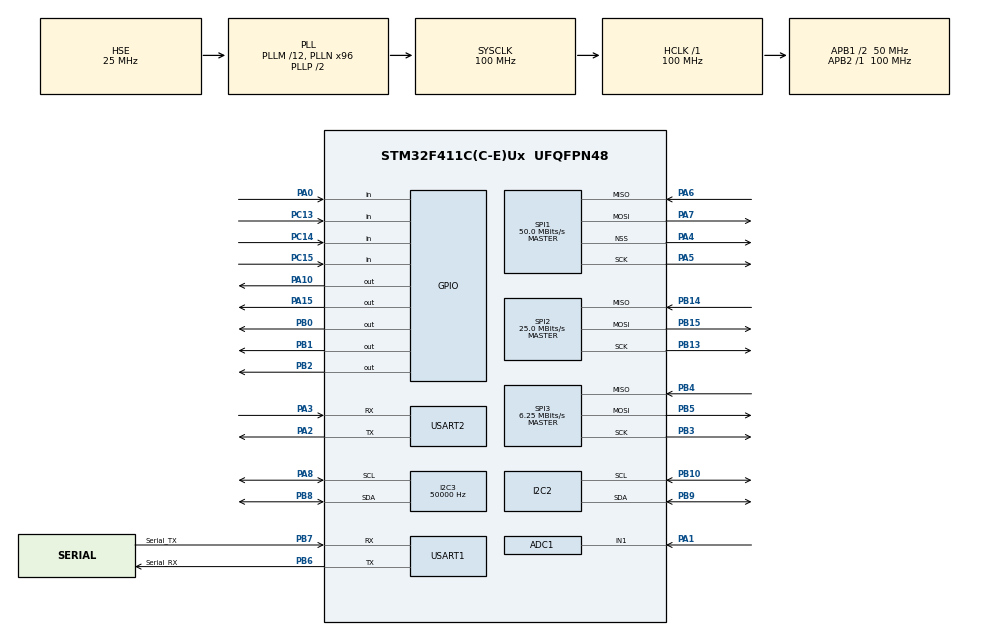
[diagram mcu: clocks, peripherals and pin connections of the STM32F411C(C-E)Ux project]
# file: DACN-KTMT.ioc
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ADC1.Channel-2\#ChannelRegularConversion=ADC_CHANNEL_1
ADC1.ClockPrescaler=ADC_CLOCK_SYNC_PCLK_DIV4
ADC1.NbrOfConversionFlag=1
ADC1.Rank-2\#ChannelRegularConversion=1
ADC1.SamplingTime-2\#ChannelRegularConversion=ADC_SAMPLETIME_3CYCLES
ADC1.master=1
Dma.I2C2_RX.2.Direction=DMA_PERIPH_TO_MEMORY
Dma.I2C2_RX.2.FIFOMode=DMA_FIFOMODE_DISABLE
Dma.I2C2_RX.2.Instance=DMA1_Stream2
Dma.I2C2_RX.2.MemDataAlignment=DMA_MDATAALIGN_BYTE
Dma.I2C2_RX.2.MemInc=DMA_MINC_ENABLE
Dma.I2C2_RX.2.Mode=DMA_NORMAL
Dma.I2C2_RX.2.PeriphDataAlignment=DMA_PDATAALIGN_BYTE
Dma.I2C2_RX.2.PeriphInc=DMA_PINC_DISABLE
Dma.I2C2_RX.2.Priority=DMA_PRIORITY_LOW
Dma.I2C2_TX.3.Direction=DMA_MEMORY_TO_PERIPH
Dma.I2C2_TX.3.FIFOMode=DMA_FIFOMODE_DISABLE
Dma.I2C2_TX.3.Instance=DMA1_Stream7
Dma.I2C2_TX.3.MemDataAlignment=DMA_MDATAALIGN_BYTE
Dma.I2C2_TX.3.MemInc=DMA_MINC_ENABLE
Dma.I2C2_TX.3.Mode=DMA_NORMAL
Dma.I2C2_TX.3.PeriphDataAlignment=DMA_PDATAALIGN_BYTE
Dma.I2C2_TX.3.PeriphInc=DMA_PINC_DISABLE
Dma.I2C2_TX.3.Priority=DMA_PRIORITY_LOW
Dma.Request0=USART2_TX
Dma.Request1=USART2_RX
Dma.Request2=I2C2_RX
Dma.Request3=I2C2_TX
Dma.Request4=SPI1_RX
Dma.Request5=SPI1_TX
Dma.SPI1_RX.4.Direction=DMA_PERIPH_TO_MEMORY
Dma.SPI1_RX.4.FIFOMode=DMA_FIFOMODE_DISABLE
Dma.SPI1_RX.4.Instance=DMA2_Stream0
Dma.SPI1_RX.4.MemDataAlignment=DMA_MDATAALIGN_BYTE
Dma.SPI1_RX.4.MemInc=DMA_MINC_ENABLE
Dma.SPI1_RX.4.Mode=DMA_NORMAL
Dma.SPI1_RX.4.PeriphDataAlignment=DMA_PDATAALIGN_BYTE
Dma.SPI1_RX.4.PeriphInc=DMA_PINC_DISABLE
Dma.SPI1_RX.4.Priority=DMA_PRIORITY_LOW
Dma.SPI1_TX.5.Direction=DMA_MEMORY_TO_PERIPH
Dma.SPI1_TX.5.FIFOMode=DMA_FIFOMODE_DISABLE
Dma.SPI1_TX.5.Instance=DMA2_Stream2
Dma.SPI1_TX.5.MemDataAlignment=DMA_MDATAALIGN_BYTE
Dma.SPI1_TX.5.MemInc=DMA_MINC_ENABLE
Dma.SPI1_TX.5.Mode=DMA_NORMAL
Dma.SPI1_TX.5.PeriphDataAlignment=DMA_PDATAALIGN_BYTE
Dma.SPI1_TX.5.PeriphInc=DMA_PINC_DISABLE
Dma.SPI1_TX.5.Priority=DMA_PRIORITY_LOW
Dma.USART2_RX.1.Direction=DMA_PERIPH_TO_MEMORY
Dma.USART2_RX.1.FIFOMode=DMA_FIFOMODE_DISABLE
Dma.USART2_RX.1.Instance=DMA1_Stream5
Dma.USART2_RX.1.MemDataAlignment=DMA_MDATAALIGN_BYTE
Dma.USART2_RX.1.MemInc=DMA_MINC_ENABLE
Dma.USART2_RX.1.Mode=DMA_NORMAL
Dma.USART2_RX.1.PeriphDataAlignment=DMA_PDATAALIGN_BYTE
Dma.USART2_RX.1.PeriphInc=DMA_PINC_DISABLE
Dma.USART2_RX.1.Priority=DMA_PRIORITY_LOW
Dma.USART2_TX.0.Direction=DMA_MEMORY_TO_PERIPH
Dma.USART2_TX.0.FIFOMode=DMA_FIFOMODE_DISABLE
Dma.USART2_TX.0.Instance=DMA1_Stream6
Dma.USART2_TX.0.MemDataAlignment=DMA_MDATAALIGN_BYTE
Dma.USART2_TX.0.MemInc=DMA_MINC_ENABLE
Dma.USART2_TX.0.Mode=DMA_NORMAL
Dma.USART2_TX.0.PeriphDataAlignment=DMA_PDATAALIGN_BYTE
Dma.USART2_TX.0.PeriphInc=DMA_PINC_DISABLE
Dma.USART2_TX.0.Priority=DMA_PRIORITY_LOW
FREERTOS.Mutexes01=button_mutex,Dynamic,NULL,Available
FREERTOS.Tasks01=TaskIMU,2,1024,StartTaskIMU,Default,NULL,Dynamic,NULL,NULL;TaskGPS,1,128,StartTaskGPS,Default,NULL,Dynamic,NULL,NULL;TaskLCD,-1,512,StartTaskLCD,Default,NULL,Dynamic,NULL,NULL;TaskBattery,0,128,StartTaskBattery,Default,NULL,Dynamic,NULL,NULL;LoRaTask,0,128,StartLoRaTask,Default,NULL,Dynamic,NULL,NULL;TaskButton,-2,128,StartTaskButton,Default,NULL,Dynamic,NULL,NULL;TaskDebug,-2,128,StartTaskDebug,Default,NULL,Dynamic,NULL,NULL;RangefinderTask,0,256,StartTaskRangefinder,Default,NULL,Dynamic,NULL,NULL
FREERTOS.configENABLE_FPU=1
FREERTOS.configUSE_NEWLIB_REENTRANT=1
FREERTOS.configUSE_PREEMPTION=1
I2C3.ClockSpeed=50000
Mcu.Family=STM32F4
Mcu.Name=STM32F411C(C-E)Ux
Mcu.Package=UFQFPN48
NVIC.ADC_IRQn=true\:5\:0\:false\:false\:true\:true\:true\:true\:true
NVIC.DMA1_Stream2_IRQn=true\:5\:0\:false\:false\:true\:true\:false\:true\:true
NVIC.DMA1_Stream5_IRQn=true\:5\:0\:false\:false\:true\:false\:false\:true\:true
NVIC.DMA1_Stream6_IRQn=true\:5\:0\:false\:false\:true\:true\:false\:true\:true
NVIC.DMA1_Stream7_IRQn=true\:5\:0\:false\:false\:true\:true\:false\:true\:true
NVIC.DMA2_Stream0_IRQn=true\:5\:0\:false\:false\:true\:true\:false\:true\:true
NVIC.DMA2_Stream2_IRQn=true\:5\:0\:false\:false\:true\:true\:false\:true\:true
NVIC.I2C3_ER_IRQn=true\:5\:0\:false\:false\:true\:true\:true\:true\:true
NVIC.I2C3_EV_IRQn=true\:5\:0\:false\:false\:true\:true\:true\:true\:true
NVIC.PriorityGroup=NVIC_PRIORITYGROUP_4
NVIC.SPI1_IRQn=true\:5\:0\:false\:false\:true\:true\:true\:true\:true
NVIC.SPI3_IRQn=true\:5\:0\:false\:false\:true\:true\:true\:true\:true
NVIC.TIM4_IRQn=true\:15\:0\:false\:false\:true\:false\:false\:true\:true
NVIC.TimeBase=TIM4_IRQn
NVIC.TimeBaseIP=TIM4
NVIC.USART1_IRQn=true\:5\:0\:false\:false\:true\:true\:true\:true\:true
PA0-WKUP.GPIO_PuPd=GPIO_PULLUP
PA0-WKUP.Signal=GPIO_Input
PA1.Signal=ADCx_IN1
PA10.Signal=GPIO_Output
PA13.Mode=Serial_Wire
PA13.Signal=SYS_JTMS-SWDIO
PA14.Mode=Serial_Wire
PA14.Signal=SYS_JTCK-SWCLK
PA15.Signal=GPIO_Output
PA2.Mode=Asynchronous
PA2.Signal=USART2_TX
PA3.Mode=Asynchronous
PA3.Signal=USART2_RX
PA4.Mode=NSS_Signal_Hard_Output
PA4.Signal=SPI1_NSS
PA5.Mode=Full_Duplex_Master
PA5.Signal=SPI1_SCK
PA6.Mode=Full_Duplex_Master
PA6.Signal=SPI1_MISO
PA7.Mode=Full_Duplex_Master
PA7.Signal=SPI1_MOSI
PA8.Mode=I2C
PA8.Signal=I2C3_SCL
PB0.Signal=GPIO_Output
PB1.Signal=GPIO_Output
PB10.Mode=I2C
PB10.Signal=I2C2_SCL
PB13.Mode=Full_Duplex_Master
PB13.Signal=SPI2_SCK
PB14.Mode=Full_Duplex_Master
PB14.Signal=SPI2_MISO
PB15.Mode=Full_Duplex_Master
PB15.Signal=SPI2_MOSI
PB2.Signal=GPIO_Output
PB3.Mode=Full_Duplex_Master
PB3.Signal=SPI3_SCK
PB4.Mode=Full_Duplex_Master
PB4.Signal=SPI3_MISO
PB5.Mode=Full_Duplex_Master
PB5.Signal=SPI3_MOSI
PB6.GPIO_Label=Serial_RX
PB6.Mode=Asynchronous
PB6.Signal=USART1_TX
PB7.GPIO_Label=Serial_TX
PB7.Mode=Asynchronous
PB7.Signal=USART1_RX
PB8.Mode=I2C
PB8.Signal=I2C3_SDA
PB9.Mode=I2C
PB9.Signal=I2C2_SDA
PC13-ANTI_TAMP.GPIO_Mode=GPIO_MODE_INPUT
PC13-ANTI_TAMP.GPIO_PuPd=GPIO_PULLUP
PC13-ANTI_TAMP.Signal=GPIO_Input
PC14-OSC32_IN.GPIO_PuPd=GPIO_PULLUP
PC14-OSC32_IN.Signal=GPIO_Input
PC15-OSC32_OUT.GPIO_PuPd=GPIO_PULLUP
PC15-OSC32_OUT.Signal=GPIO_Input
PH0\ -\ OSC_IN.Mode=HSE-External-Oscillator
PH0\ -\ OSC_IN.Signal=RCC_OSC_IN
PH1\ -\ OSC_OUT.Mode=HSE-External-Oscillator
PH1\ -\ OSC_OUT.Signal=RCC_OSC_OUT
ProjectManager.HeapSize=0x200
ProjectManager.StackSize=0x400
ProjectManager.TargetToolchain=STM32CubeIDE
RCC.48MHZClocksFreq_Value=50000000
RCC.AHBFreq_Value=100000000
RCC.APB1CLKDivider=RCC_HCLK_DIV2
RCC.APB1Freq_Value=50000000
RCC.APB1TimFreq_Value=100000000
RCC.APB2Freq_Value=100000000
RCC.APB2TimFreq_Value=100000000
RCC.CortexFreq_Value=100000000
RCC.HCLKFreq_Value=100000000
RCC.HSE_VALUE=25000000
RCC.HSI_VALUE=16000000
RCC.LSE_VALUE=32768
RCC.PLLM=12
RCC.PLLN=96
RCC.PLLSourceVirtual=RCC_PLLSOURCE_HSE
RCC.SYSCLKFreq_VALUE=100000000
RCC.SYSCLKSource=RCC_SYSCLKSOURCE_PLLCLK
RCC.VCOOutputFreq_Value=200000000
SH.ADCx_IN1.0=ADC1_IN1,IN1
SPI1.CalculateBaudRate=50.0 MBits/s
SPI1.Direction=SPI_DIRECTION_2LINES
SPI1.Mode=SPI_MODE_MASTER
SPI1.VirtualNSS=VM_NSSHARD
SPI1.VirtualType=VM_MASTER
SPI2.CalculateBaudRate=25.0 MBits/s
SPI2.Direction=SPI_DIRECTION_2LINES
SPI2.Mode=SPI_MODE_MASTER
SPI2.VirtualType=VM_MASTER
SPI3.BaudRatePrescaler=SPI_BAUDRATEPRESCALER_8
SPI3.CalculateBaudRate=6.25 MBits/s
SPI3.Direction=SPI_DIRECTION_2LINES
SPI3.Mode=SPI_MODE_MASTER
SPI3.VirtualType=VM_MASTER
USART1.VirtualMode=VM_ASYNC
USART2.VirtualMode=VM_ASYNC
VP_FREERTOS_VS_CMSIS_V1.Mode=CMSIS_V1
VP_SYS_VS_tim4.Mode=TIM4
board=custom

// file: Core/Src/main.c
/* USER CODE BEGIN Header */
/**
  ******************************************************************************
  * @file           : main.c
  * @brief          : Main program body
  ******************************************************************************
  * @attention
  *
  * Copyright (c) 2025 STMicroelectronics.
  * All rights reserved.
  *
  * This software is licensed under terms that can be found in the LICENSE file
  * in the root directory of this software component.
  * If no LICENSE file comes with this software, it is provided AS-IS.
  *
  ******************************************************************************
  */
/* USER CODE END Header */
#include "main.h"
#include "cmsis_os.h"

/* USER CODE BEGIN Includes */
#include "global.h"
/* USER CODE END Includes */

ADC_HandleTypeDef hadc1;

I2C_HandleTypeDef hi2c2;
I2C_HandleTypeDef hi2c3;
DMA_HandleTypeDef hdma_i2c2_rx;
DMA_HandleTypeDef hdma_i2c2_tx;

SPI_HandleTypeDef hspi1;
SPI_HandleTypeDef hspi2;
SPI_HandleTypeDef hspi3;
DMA_HandleTypeDef hdma_spi1_rx;
DMA_HandleTypeDef hdma_spi1_tx;

UART_HandleTypeDef huart1;
UART_HandleTypeDef huart2;
DMA_HandleTypeDef hdma_usart2_tx;
DMA_HandleTypeDef hdma_usart2_rx;

osThreadId TaskIMUHandle;
osThreadId TaskGPSHandle;
osThreadId TaskLCDHandle;
osThreadId TaskBatteryHandle;
osThreadId LoRaTaskHandle;
osThreadId TaskButtonHandle;
osThreadId TaskDebugHandle;
osThreadId RangefinderTaskHandle;
osMutexId button_mutexHandle;

uint8_t rxByte;
char    rxBuf[32];
uint8_t rxIdx = 0;

void SystemClock_Config(void);
static void MX_GPIO_Init(void);
static void MX_DMA_Init(void);
static void MX_USART1_UART_Init(void);
static void MX_USART2_UART_Init(void);
static void MX_ADC1_Init(void);
static void MX_I2C2_Init(void);
static void MX_I2C3_Init(void);
static void MX_SPI1_Init(void);
static void MX_SPI2_Init(void);
static void MX_SPI3_Init(void);
void StartTaskIMU(void const * argument);
void StartTaskGPS(void const * argument);
void StartTaskLCD(void const * argument);
void StartTaskBattery(void const * argument);
void StartLoRaTask(void const * argument);
void StartTaskButton(void const * argument);
void StartTaskDebug(void const * argument);
void StartTaskRangefinder(void const * argument);

/* USER CODE BEGIN 0 */

osMessageQDef(buttonQueue, 10, uint32_t);
osMessageQId buttonQueueHandle;
/* USER CODE END 0 */

int main(void)
{

  /* MCU Configuration--------------------------------------------------------*/

  /* Reset of all peripherals, Initializes the Flash interface and the Systick. */
  HAL_Init();

  /* Configure the system clock */
  SystemClock_Config();

  /* Initialize all configured peripherals */
  MX_GPIO_Init();
  MX_DMA_Init();
  MX_USART1_UART_Init();
  MX_USART2_UART_Init();
  MX_ADC1_Init();
  MX_I2C2_Init();
  MX_I2C3_Init();
  MX_SPI1_Init();
  MX_SPI2_Init();
  MX_SPI3_Init();
  /* USER CODE BEGIN 2 */
  TaskGPS_init();
  TaskIMU_init(&hi2c3);
  TaskLCD_init();

  /* USER CODE END 2 */

  /* Create the mutex(es) */
  /* definition and creation of button_mutex */
  osMutexDef(button_mutex);
  button_mutexHandle = osMutexCreate(osMutex(button_mutex));

  /* USER CODE BEGIN RTOS_SEMAPHORES */
  /* add semaphores, ... */
  Semaphore_init();
  /* USER CODE END RTOS_SEMAPHORES */

  /* USER CODE BEGIN RTOS_QUEUES */
  /* add queues, ... */
//  buttonQueueHandle = osMessageCreate(osMessageQ(buttonQueue), NULL);
  /* USER CODE END RTOS_QUEUES */

  /* Create the thread(s) */
  /* definition and creation of TaskIMU */
  osThreadDef(TaskIMU, StartTaskIMU, osPriorityHigh, 0, 1024);
  TaskIMUHandle = osThreadCreate(osThread(TaskIMU), NULL);

  /* definition and creation of TaskGPS */
  osThreadDef(TaskGPS, StartTaskGPS, osPriorityAboveNormal, 0, 128);
  TaskGPSHandle = osThreadCreate(osThread(TaskGPS), NULL);

  /* definition and creation of TaskLCD */
  osThreadDef(TaskLCD, StartTaskLCD, osPriorityBelowNormal, 0, 512);
  TaskLCDHandle = osThreadCreate(osThread(TaskLCD), NULL);

  /* definition and creation of TaskBattery */
  osThreadDef(TaskBattery, StartTaskBattery, osPriorityNormal, 0, 128);
  TaskBatteryHandle = osThreadCreate(osThread(TaskBattery), NULL);

  /* definition and creation of LoRaTask */
  osThreadDef(LoRaTask, StartLoRaTask, osPriorityNormal, 0, 128);
  LoRaTaskHandle = osThreadCreate(osThread(LoRaTask), NULL);

  /* definition and creation of TaskButton */
  osThreadDef(TaskButton, StartTaskButton, osPriorityLow, 0, 128);
  TaskButtonHandle = osThreadCreate(osThread(TaskButton), NULL);

  /* definition and creation of TaskDebug */
  osThreadDef(TaskDebug, StartTaskDebug, osPriorityLow, 0, 128);
  TaskDebugHandle = osThreadCreate(osThread(TaskDebug), NULL);

  /* definition and creation of RangefinderTask */
  osThreadDef(RangefinderTask, StartTaskRangefinder, osPriorityNormal, 0, 256);
  RangefinderTaskHandle = osThreadCreate(osThread(RangefinderTask), NULL);

  /* USER CODE BEGIN RTOS_THREADS */
//  /* add threads, ... */
  /* USER CODE END RTOS_THREADS */

  /* Start scheduler */
  osKernelStart();

  /* We should never get here as control is now taken by the scheduler */

  /* Infinite loop */
  /* USER CODE BEGIN WHILE */
//  //TaskBattery_init();

  while (1)
  {
    /* USER CODE END WHILE */

  }
}

void SystemClock_Config(void)
{
  RCC_OscInitTypeDef RCC_OscInitStruct = {0};
  RCC_ClkInitTypeDef RCC_ClkInitStruct = {0};

  /** Configure the main internal regulator output voltage
  */
  __HAL_RCC_PWR_CLK_ENABLE();
  __HAL_PWR_VOLTAGESCALING_CONFIG(PWR_REGULATOR_VOLTAGE_SCALE1);

  /** Initializes the RCC Oscillators according to the specified parameters
  * in the RCC_OscInitTypeDef structure.
  */
  RCC_OscInitStruct.OscillatorType = RCC_OSCILLATORTYPE_HSE;
  RCC_OscInitStruct.HSEState = RCC_HSE_ON;
  RCC_OscInitStruct.PLL.PLLState = RCC_PLL_ON;
  RCC_OscInitStruct.PLL.PLLSource = RCC_PLLSOURCE_HSE;
  RCC_OscInitStruct.PLL.PLLM = 12;
  RCC_OscInitStruct.PLL.PLLN = 96;
  RCC_OscInitStruct.PLL.PLLP = RCC_PLLP_DIV2;
  RCC_OscInitStruct.PLL.PLLQ = 4;
  if (HAL_RCC_OscConfig(&RCC_OscInitStruct) != HAL_OK)
  {
    Error_Handler();
  }

  /** Initializes the CPU, AHB and APB buses clocks
  */
  RCC_ClkInitStruct.ClockType = RCC_CLOCKTYPE_HCLK|RCC_CLOCKTYPE_SYSCLK
                              |RCC_CLOCKTYPE_PCLK1|RCC_CLOCKTYPE_PCLK2;
  RCC_ClkInitStruct.SYSCLKSource = RCC_SYSCLKSOURCE_PLLCLK;
  RCC_ClkInitStruct.AHBCLKDivider = RCC_SYSCLK_DIV1;
  RCC_ClkInitStruct.APB1CLKDivider = RCC_HCLK_DIV2;
  RCC_ClkInitStruct.APB2CLKDivider = RCC_HCLK_DIV1;

  if (HAL_RCC_ClockConfig(&RCC_ClkInitStruct, FLASH_LATENCY_3) != HAL_OK)
  {
    Error_Handler();
  }
}

static void MX_ADC1_Init(void)
{

  ADC_ChannelConfTypeDef sConfig = {0};

  /** Configure the global features of the ADC (Clock, Resolution, Data Alignment and number of conversion)
  */
  hadc1.Instance = ADC1;
  hadc1.Init.ClockPrescaler = ADC_CLOCK_SYNC_PCLK_DIV4;
  hadc1.Init.Resolution = ADC_RESOLUTION_12B;
  hadc1.Init.ScanConvMode = DISABLE;
  hadc1.Init.ContinuousConvMode = DISABLE;
  hadc1.Init.DiscontinuousConvMode = DISABLE;
  hadc1.Init.ExternalTrigConvEdge = ADC_EXTERNALTRIGCONVEDGE_NONE;
  hadc1.Init.ExternalTrigConv = ADC_SOFTWARE_START;
  hadc1.Init.DataAlign = ADC_DATAALIGN_RIGHT;
  hadc1.Init.NbrOfConversion = 1;
  hadc1.Init.DMAContinuousRequests = DISABLE;
  hadc1.Init.EOCSelection = ADC_EOC_SINGLE_CONV;
  if (HAL_ADC_Init(&hadc1) != HAL_OK)
  {
    Error_Handler();
  }

  /** Configure for the selected ADC regular channel its corresponding rank in the sequencer and its sample time.
  */
  sConfig.Channel = ADC_CHANNEL_1;
  sConfig.Rank = 1;
  sConfig.SamplingTime = ADC_SAMPLETIME_3CYCLES;
  if (HAL_ADC_ConfigChannel(&hadc1, &sConfig) != HAL_OK)
  {
    Error_Handler();
  }

}

static void MX_I2C2_Init(void)
{

  hi2c2.Instance = I2C2;
  hi2c2.Init.ClockSpeed = 100000;
  hi2c2.Init.DutyCycle = I2C_DUTYCYCLE_2;
  hi2c2.Init.OwnAddress1 = 0;
  hi2c2.Init.AddressingMode = I2C_ADDRESSINGMODE_7BIT;
  hi2c2.Init.DualAddressMode = I2C_DUALADDRESS_DISABLE;
  hi2c2.Init.OwnAddress2 = 0;
  hi2c2.Init.GeneralCallMode = I2C_GENERALCALL_DISABLE;
  hi2c2.Init.NoStretchMode = I2C_NOSTRETCH_DISABLE;
  if (HAL_I2C_Init(&hi2c2) != HAL_OK)
  {
    Error_Handler();
  }

}

static void MX_I2C3_Init(void)
{

  hi2c3.Instance = I2C3;
  hi2c3.Init.ClockSpeed = 50000;
  hi2c3.Init.DutyCycle = I2C_DUTYCYCLE_2;
  hi2c3.Init.OwnAddress1 = 0;
  hi2c3.Init.AddressingMode = I2C_ADDRESSINGMODE_7BIT;
  hi2c3.Init.DualAddressMode = I2C_DUALADDRESS_DISABLE;
  hi2c3.Init.OwnAddress2 = 0;
  hi2c3.Init.GeneralCallMode = I2C_GENERALCALL_DISABLE;
  hi2c3.Init.NoStretchMode = I2C_NOSTRETCH_DISABLE;
  if (HAL_I2C_Init(&hi2c3) != HAL_OK)
  {
    Error_Handler();
  }

}

static void MX_SPI1_Init(void)
{

  /* SPI1 parameter configuration*/
  hspi1.Instance = SPI1;
  hspi1.Init.Mode = SPI_MODE_MASTER;
  hspi1.Init.Direction = SPI_DIRECTION_2LINES;
  hspi1.Init.DataSize = SPI_DATASIZE_8BIT;
  hspi1.Init.CLKPolarity = SPI_POLARITY_LOW;
  hspi1.Init.CLKPhase = SPI_PHASE_1EDGE;
  hspi1.Init.NSS = SPI_NSS_HARD_OUTPUT;
  hspi1.Init.BaudRatePrescaler = SPI_BAUDRATEPRESCALER_2;
  hspi1.Init.FirstBit = SPI_FIRSTBIT_MSB;
  hspi1.Init.TIMode = SPI_TIMODE_DISABLE;
  hspi1.Init.CRCCalculation = SPI_CRCCALCULATION_DISABLE;
  hspi1.Init.CRCPolynomial = 10;
  if (HAL_SPI_Init(&hspi1) != HAL_OK)
  {
    Error_Handler();
  }

}

static void MX_SPI2_Init(void)
{

  /* SPI2 parameter configuration*/
  hspi2.Instance = SPI2;
  hspi2.Init.Mode = SPI_MODE_MASTER;
  hspi2.Init.Direction = SPI_DIRECTION_2LINES;
  hspi2.Init.DataSize = SPI_DATASIZE_8BIT;
  hspi2.Init.CLKPolarity = SPI_POLARITY_LOW;
  hspi2.Init.CLKPhase = SPI_PHASE_1EDGE;
  hspi2.Init.NSS = SPI_NSS_SOFT;
  hspi2.Init.BaudRatePrescaler = SPI_BAUDRATEPRESCALER_2;
  hspi2.Init.FirstBit = SPI_FIRSTBIT_MSB;
  hspi2.Init.TIMode = SPI_TIMODE_DISABLE;
  hspi2.Init.CRCCalculation = SPI_CRCCALCULATION_DISABLE;
  hspi2.Init.CRCPolynomial = 10;
  if (HAL_SPI_Init(&hspi2) != HAL_OK)
  {
    Error_Handler();
  }

}

static void MX_SPI3_Init(void)
{

  /* SPI3 parameter configuration*/
  hspi3.Instance = SPI3;
  hspi3.Init.Mode = SPI_MODE_MASTER;
  hspi3.Init.Direction = SPI_DIRECTION_2LINES;
  hspi3.Init.DataSize = SPI_DATASIZE_8BIT;
  hspi3.Init.CLKPolarity = SPI_POLARITY_LOW;
  hspi3.Init.CLKPhase = SPI_PHASE_1EDGE;
  hspi3.Init.NSS = SPI_NSS_SOFT;
  hspi3.Init.BaudRatePrescaler = SPI_BAUDRATEPRESCALER_8;
  hspi3.Init.FirstBit = SPI_FIRSTBIT_MSB;
  hspi3.Init.TIMode = SPI_TIMODE_DISABLE;
  hspi3.Init.CRCCalculation = SPI_CRCCALCULATION_DISABLE;
  hspi3.Init.CRCPolynomial = 10;
  if (HAL_SPI_Init(&hspi3) != HAL_OK)
  {
    Error_Handler();
  }

}

static void MX_USART1_UART_Init(void)
{

  huart1.Instance = USART1;
  huart1.Init.BaudRate = 115200;
  huart1.Init.WordLength = UART_WORDLENGTH_8B;
  huart1.Init.StopBits = UART_STOPBITS_1;
  huart1.Init.Parity = UART_PARITY_NONE;
  huart1.Init.Mode = UART_MODE_TX_RX;
  huart1.Init.HwFlowCtl = UART_HWCONTROL_NONE;
  huart1.Init.OverSampling = UART_OVERSAMPLING_16;
  if (HAL_UART_Init(&huart1) != HAL_OK)
  {
    Error_Handler();
  }

}

static void MX_USART2_UART_Init(void)
{

  huart2.Instance = USART2;
  huart2.Init.BaudRate = 115200;
  huart2.Init.WordLength = UART_WORDLENGTH_8B;
  huart2.Init.StopBits = UART_STOPBITS_1;
  huart2.Init.Parity = UART_PARITY_NONE;
  huart2.Init.Mode = UART_MODE_TX_RX;
  huart2.Init.HwFlowCtl = UART_HWCONTROL_NONE;
  huart2.Init.OverSampling = UART_OVERSAMPLING_16;
  if (HAL_UART_Init(&huart2) != HAL_OK)
  {
    Error_Handler();
  }

}

static void MX_DMA_Init(void)
{

  /* DMA controller clock enable */
  __HAL_RCC_DMA1_CLK_ENABLE();
  __HAL_RCC_DMA2_CLK_ENABLE();

  /* DMA interrupt init */
  /* DMA1_Stream2_IRQn interrupt configuration */
  HAL_NVIC_SetPriority(DMA1_Stream2_IRQn, 5, 0);
  HAL_NVIC_EnableIRQ(DMA1_Stream2_IRQn);
  /* DMA1_Stream5_IRQn interrupt configuration */
  HAL_NVIC_SetPriority(DMA1_Stream5_IRQn, 5, 0);
  HAL_NVIC_EnableIRQ(DMA1_Stream5_IRQn);
  /* DMA1_Stream6_IRQn interrupt configuration */
  HAL_NVIC_SetPriority(DMA1_Stream6_IRQn, 5, 0);
  HAL_NVIC_EnableIRQ(DMA1_Stream6_IRQn);
  /* DMA1_Stream7_IRQn interrupt configuration */
  HAL_NVIC_SetPriority(DMA1_Stream7_IRQn, 5, 0);
  HAL_NVIC_EnableIRQ(DMA1_Stream7_IRQn);
  /* DMA2_Stream0_IRQn interrupt configuration */
  HAL_NVIC_SetPriority(DMA2_Stream0_IRQn, 5, 0);
  HAL_NVIC_EnableIRQ(DMA2_Stream0_IRQn);
  /* DMA2_Stream2_IRQn interrupt configuration */
  HAL_NVIC_SetPriority(DMA2_Stream2_IRQn, 5, 0);
  HAL_NVIC_EnableIRQ(DMA2_Stream2_IRQn);

}

static void MX_GPIO_Init(void)
{
  GPIO_InitTypeDef GPIO_InitStruct = {0};

  /* GPIO Ports Clock Enable */
  __HAL_RCC_GPIOC_CLK_ENABLE();
  __HAL_RCC_GPIOH_CLK_ENABLE();
  __HAL_RCC_GPIOA_CLK_ENABLE();
  __HAL_RCC_GPIOB_CLK_ENABLE();

  /*Configure GPIO pin Output Level */
  HAL_GPIO_WritePin(GPIOB, GPIO_PIN_0|GPIO_PIN_1|GPIO_PIN_2, GPIO_PIN_RESET);

  /*Configure GPIO pin Output Level */
  HAL_GPIO_WritePin(GPIOA, GPIO_PIN_10|GPIO_PIN_15, GPIO_PIN_RESET);

  /*Configure GPIO pins : PC13 PC14 PC15 */
  GPIO_InitStruct.Pin = GPIO_PIN_13|GPIO_PIN_14|GPIO_PIN_15;
  GPIO_InitStruct.Mode = GPIO_MODE_INPUT;
  GPIO_InitStruct.Pull = GPIO_PULLUP;
  HAL_GPIO_Init(GPIOC, &GPIO_InitStruct);

  /*Configure GPIO pin : PA0 */
  GPIO_InitStruct.Pin = GPIO_PIN_0;
  GPIO_InitStruct.Mode = GPIO_MODE_INPUT;
  GPIO_InitStruct.Pull = GPIO_PULLUP;
  HAL_GPIO_Init(GPIOA, &GPIO_InitStruct);

  /*Configure GPIO pins : PB0 PB1 PB2 */
  GPIO_InitStruct.Pin = GPIO_PIN_0|GPIO_PIN_1|GPIO_PIN_2;
  GPIO_InitStruct.Mode = GPIO_MODE_OUTPUT_PP;
  GPIO_InitStruct.Pull = GPIO_NOPULL;
  GPIO_InitStruct.Speed = GPIO_SPEED_FREQ_LOW;
  HAL_GPIO_Init(GPIOB, &GPIO_InitStruct);

  /*Configure GPIO pins : PA10 PA15 */
  GPIO_InitStruct.Pin = GPIO_PIN_10|GPIO_PIN_15;
  GPIO_InitStruct.Mode = GPIO_MODE_OUTPUT_PP;
  GPIO_InitStruct.Pull = GPIO_NOPULL;
  GPIO_InitStruct.Speed = GPIO_SPEED_FREQ_LOW;
  HAL_GPIO_Init(GPIOA, &GPIO_InitStruct);

}

/* USER CODE BEGIN 4 */

void HAL_UARTEx_RxEventCallback(UART_HandleTypeDef *huart, uint16_t Size)
{
    if (huart->Instance == USART2)
    {
        GPS_Data_Update();
        HAL_UARTEx_ReceiveToIdle_DMA(&GPS_UART_PORT, gps_uart_rx_buffer, GPS_UART_BUFFER_SIZE);
        __HAL_DMA_DISABLE_IT(huart->hdmarx, DMA_IT_HT);
    }
}

void HAL_I2C_MemRxCpltCallback(I2C_HandleTypeDef *hi2c)
{
	//Serial_Print("call back\n\r");
    if (hi2c == &hi2c3)
    {
//    	HAL_DMA_Abort_IT(hi2c->hdmarx);
        BaseType_t xHigherPriorityTaskWoken = pdFALSE;
        xSemaphoreGiveFromISR(i2cDmaSemHandle, &xHigherPriorityTaskWoken);
        portYIELD_FROM_ISR(xHigherPriorityTaskWoken);
    }
}

void HAL_ADC_ConvCpltCallback(ADC_HandleTypeDef *hadc)
{
}

void HAL_SPI_TxCpltCallback(SPI_HandleTypeDef *hspi)
{
	if (hspi == &ST7735_SPI_PORT) {
	        HAL_GPIO_WritePin(ST7735_CS_GPIO_Port, ST7735_CS_Pin, GPIO_PIN_SET);
	        BaseType_t xHigherPriorityTaskWoken = pdFALSE;
	        xSemaphoreGiveFromISR(spiDmaSemHandle, &xHigherPriorityTaskWoken);
	        portYIELD_FROM_ISR(xHigherPriorityTaskWoken);
	}
    if(hspi == myLoRa.hSPIx)
    {
#ifdef LORA_ENABLE_SERIAL_LOG
    	Serial_Print("[LoRa] SPI Call Back\n\r");
#endif
    	BaseType_t xHigherPriorityTaskWoken = pdFALSE;
        vTaskNotifyGiveFromISR(LoRaTaskHandle, &xHigherPriorityTaskWoken);
        portYIELD_FROM_ISR(xHigherPriorityTaskWoken);
    }

}

void HAL_UART_RxCpltCallback(UART_HandleTypeDef *huart) {
    if (huart->Instance == USART1) {

        if (rxByte == '\r' || rxByte == '\n') {
            if (rxIdx > 0) {
                rxBuf[rxIdx] = '\0';

                for (int i = 0; i < rxIdx; i++)
                    if (rxBuf[i] == ',') rxBuf[i] = '.';

                tag_distance = strtof(rxBuf, NULL);

                rxIdx = 0;
                memset(rxBuf, 0, sizeof(rxBuf));
            }
        } else if ((rxByte >= '0' && rxByte <= '9') ||
                    rxByte == '.' || rxByte == ',' || rxByte == '-') {
            rxBuf[rxIdx++] = rxByte;
        }

        HAL_UART_Receive_IT(&huart1, &rxByte, 1);
    }
}
/* USER CODE END 4 */

void StartTaskIMU(void const * argument)
{
  /* USER CODE BEGIN 5 */
  /* Infinite loop */
		Serial_Print("[IMU] Task IMU Running\n\r");

	    for (;;)
	    {
	    	TaskIMU_run(&hi2c3);
	    	osDelay(20);
	    }
  /* USER CODE END 5 */
}

void StartTaskGPS(void const * argument)
{
  /* USER CODE BEGIN StartTaskGPS */

  /* Infinite loop */
	Serial_Print("[GPS] Run GPS\n\r");
	for(;;){
		TaskGPS_run();
		osDelay(50);
	}
  /* USER CODE END StartTaskGPS */
}

void StartTaskLCD(void const * argument)
{
  /* USER CODE BEGIN StartTaskLCD */
  /* Infinite loop */
	Serial_Print("[LCD] Run LCD\n\r");
  for(;;)
  {
	  //Serial_Print("[LCD] display LCD\n\r");
	  TaskLCD_run();
	  osDelay(100);
  }
  /* USER CODE END StartTaskLCD */
}

void StartTaskBattery(void const * argument)
{
  /* USER CODE BEGIN StartTaskBattery */
	/* Infinite loop */
	TaskBattery_init();
	osDelay(2000);
	for(;;)
	{
		TaskBattery_run();
		osDelay(10000);
	}
  /* USER CODE END StartTaskBattery */
}

void StartLoRaTask(void const * argument)
{
  /* USER CODE BEGIN StartLoRaTask */
	/* Infinite loop */
	TaskLoRa_init();
	osDelay(2000);
	  for(;;)
	  {
			TaskLoRa_run();
			osDelay(5000);
	  }
  /* USER CODE END StartLoRaTask */
}

void StartTaskButton(void const * argument)
{
  /* USER CODE BEGIN StartTaskButton */
	/* Infinite loop */
	TaskButton_init();
	osDelay(2000);
	for(;;)
	{
		TaskButton_run();
		osDelay(20);
	}
  /* USER CODE END StartTaskButton */
}

void StartTaskDebug(void const * argument)
{
  /* USER CODE BEGIN StartTaskDebug */
	TaskDebug_init();
  /* Infinite loop */
	for(;;)
	{
		TaskDebug_run();
		osDelay(100);
	}
  /* USER CODE END StartTaskDebug */
}

void StartTaskRangefinder(void const * argument)
{
  /* USER CODE BEGIN StartTaskRangefinder */
  /* Infinite loop */
  for(;;)
  {
    osDelay(1000);
  }
  /* USER CODE END StartTaskRangefinder */
}

void HAL_TIM_PeriodElapsedCallback(TIM_HandleTypeDef *htim)
{
  /* USER CODE BEGIN Callback 0 */
//	if (htim->Instance == HANDLE_SW_INSTANCE)
//	{
//		Timer_Run();
//	}

  /* USER CODE END Callback 0 */
  if (htim->Instance == TIM4)
  {
    HAL_IncTick();
  }
  /* USER CODE BEGIN Callback 1 */
//
  /* USER CODE END Callback 1 */
}

void Error_Handler(void)
{
  __disable_irq();
  while (1)
  {
  }
}
